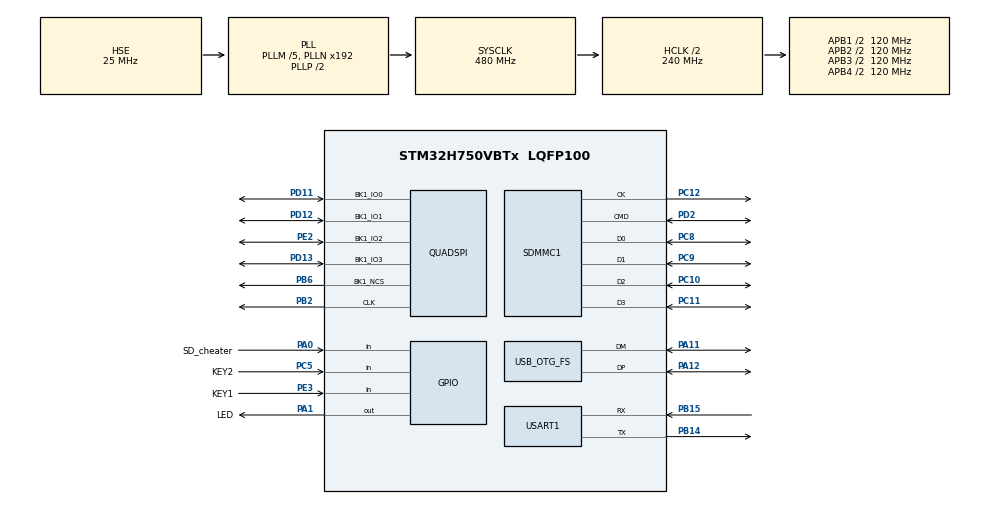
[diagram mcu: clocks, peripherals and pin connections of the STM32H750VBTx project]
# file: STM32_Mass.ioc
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FATFS.BSP.number=1
FATFS.USE_DMA_CODE_SD=1
FATFS._FS_EXFAT=1
FATFS._FS_TIMEOUT=300
FATFS._USE_LFN=3
FATFS0.BSP.STBoard=false
FATFS0.BSP.api=Unknown
FATFS0.BSP.instance=PA0
FATFS0.BSP.ip=GPIO
FATFS0.BSP.mode=Input
FATFS0.BSP.name=Detect_SDIO
FATFS0.BSP.solution=PA0
FREERTOS.Tasks01=defaultTask,0,2048,StartDefaultTask,Default,NULL,Dynamic,NULL,NULL
FREERTOS.configENABLE_FPU=1
FREERTOS.configMINIMAL_STACK_SIZE=256
FREERTOS.configTOTAL_HEAP_SIZE=30720
Mcu.Family=STM32H7
Mcu.Name=STM32H750VBTx
Mcu.Package=LQFP100
Mdma.MDMA_Channel0.Request0=SDMMC1_END_DATA
Mdma.MDMA_Channel0.RequestsNb=1
Mdma.MDMA_Channel0.SDMMC1_END_DATA.0.BlockCount=0
Mdma.MDMA_Channel0.SDMMC1_END_DATA.0.BlockDataLength=0
Mdma.MDMA_Channel0.SDMMC1_END_DATA.0.BufferTransferLength=1
Mdma.MDMA_Channel0.SDMMC1_END_DATA.0.CircularMode=MDMA_LINEAR_LIST
Mdma.MDMA_Channel0.SDMMC1_END_DATA.0.DataAlignment=MDMA_DATAALIGN_PACKENABLE
Mdma.MDMA_Channel0.SDMMC1_END_DATA.0.DestBlockAddressOffset=0
Mdma.MDMA_Channel0.SDMMC1_END_DATA.0.DestBurst=MDMA_DEST_BURST_SINGLE
Mdma.MDMA_Channel0.SDMMC1_END_DATA.0.DestDataSize=MDMA_DEST_DATASIZE_BYTE
Mdma.MDMA_Channel0.SDMMC1_END_DATA.0.DestinationInc=MDMA_DEST_INC_BYTE
Mdma.MDMA_Channel0.SDMMC1_END_DATA.0.DstAddress=0
Mdma.MDMA_Channel0.SDMMC1_END_DATA.0.Endianness=MDMA_LITTLE_ENDIANNESS_PRESERVE
Mdma.MDMA_Channel0.SDMMC1_END_DATA.0.Instance=MDMA_Channel0
Mdma.MDMA_Channel0.SDMMC1_END_DATA.0.MaskAddress=0
Mdma.MDMA_Channel0.SDMMC1_END_DATA.0.MaskData=0
Mdma.MDMA_Channel0.SDMMC1_END_DATA.0.Priority=MDMA_PRIORITY_LOW
Mdma.MDMA_Channel0.SDMMC1_END_DATA.0.Rank=First
Mdma.MDMA_Channel0.SDMMC1_END_DATA.0.SourceBlockAddressOffset=0
Mdma.MDMA_Channel0.SDMMC1_END_DATA.0.SourceBurst=MDMA_SOURCE_BURST_SINGLE
Mdma.MDMA_Channel0.SDMMC1_END_DATA.0.SourceDataSize=MDMA_SRC_DATASIZE_BYTE
Mdma.MDMA_Channel0.SDMMC1_END_DATA.0.SourceInc=MDMA_SRC_INC_BYTE
Mdma.MDMA_Channel0.SDMMC1_END_DATA.0.SrcAddress=0
Mdma.MDMA_Channel0.SDMMC1_END_DATA.0.TransferTriggerMode=MDMA_BUFFER_TRANSFER
Mdma.RequestSet0=MDMA_Channel0
Mdma.RequestSetsNb=1
NVIC.MDMA_IRQn=true\:6\:0\:true\:false\:true\:true\:true\:true\:true
NVIC.OTG_FS_IRQn=true\:7\:0\:true\:false\:true\:true\:false\:true\:true
NVIC.PriorityGroup=NVIC_PRIORITYGROUP_4
NVIC.SDMMC1_IRQn=true\:5\:0\:true\:false\:true\:true\:true\:true\:true
NVIC.TIM1_UP_IRQn=true\:0\:0\:true\:false\:true\:false\:false\:true\:true
NVIC.TimeBase=TIM1_UP_IRQn
NVIC.TimeBaseIP=TIM1
PA0.GPIO_Label=SD_cheater
PA0.GPIO_PuPd=GPIO_PULLDOWN
PA0.Signal=GPIO_Input
PA1.GPIO_Label=LED
PA1.GPIO_PuPd=GPIO_NOPULL
PA1.PinState=GPIO_PIN_SET
PA1.Signal=GPIO_Output
PA11.Mode=Device_Only
PA11.Signal=USB_OTG_FS_DM
PA12.Mode=Device_Only
PA12.Signal=USB_OTG_FS_DP
PA13\ (JTMS/SWDIO).Mode=Serial_Wire
PA13\ (JTMS/SWDIO).Signal=DEBUG_JTMS-SWDIO
PA14\ (JTCK/SWCLK).Mode=Serial_Wire
PA14\ (JTCK/SWCLK).Signal=DEBUG_JTCK-SWCLK
PB14.Mode=Asynchronous
PB14.Signal=USART1_TX
PB15.Mode=Asynchronous
PB15.Signal=USART1_RX
PB2.Mode=Single Bank 1
PB2.Signal=QUADSPI_CLK
PB6.Mode=Single Bank 1
PB6.Signal=QUADSPI_BK1_NCS
PC10.Mode=SD_4_bits_Wide_bus
PC10.Signal=SDMMC1_D2
PC11.Mode=SD_4_bits_Wide_bus
PC11.Signal=SDMMC1_D3
PC12.GPIO_PuPd=GPIO_PULLUP
PC12.Mode=SD_4_bits_Wide_bus
PC12.Signal=SDMMC1_CK
PC5.GPIO_Label=KEY2
PC5.GPIO_PuPd=GPIO_PULLUP
PC5.Signal=GPIO_Input
PC8.GPIO_PuPd=GPIO_PULLUP
PC8.Mode=SD_4_bits_Wide_bus
PC8.Signal=SDMMC1_D0
PC9.Mode=SD_4_bits_Wide_bus
PC9.Signal=SDMMC1_D1
PD11.Mode=Single Bank 1
PD11.Signal=QUADSPI_BK1_IO0
PD12.Mode=Single Bank 1
PD12.Signal=QUADSPI_BK1_IO1
PD13.Mode=Single Bank 1
PD13.Signal=QUADSPI_BK1_IO3
PD2.GPIO_PuPd=GPIO_PULLUP
PD2.Mode=SD_4_bits_Wide_bus
PD2.Signal=SDMMC1_CMD
PE2.Mode=Single Bank 1
PE2.Signal=QUADSPI_BK1_IO2
PE3.GPIO_Label=KEY1
PE3.GPIO_PuPd=GPIO_PULLUP
PE3.Signal=GPIO_Input
PH0-OSC_IN\ (PH0).Mode=HSE-External-Oscillator
PH0-OSC_IN\ (PH0).Signal=RCC_OSC_IN
PH1-OSC_OUT\ (PH1).Mode=HSE-External-Oscillator
PH1-OSC_OUT\ (PH1).Signal=RCC_OSC_OUT
ProjectManager.HeapSize=0x2000
ProjectManager.StackSize=0x2000
ProjectManager.TargetToolchain=STM32CubeIDE
QUADSPI.FlashSize=8
RCC.ADCFreq_Value=100781250
RCC.APB1Freq_Value=120000000
RCC.APB2Freq_Value=120000000
RCC.APB3Freq_Value=120000000
RCC.APB4Freq_Value=120000000
RCC.CortexFreq_Value=480000000
RCC.D1PPRE=RCC_APB3_DIV2
RCC.D2PPRE1=RCC_APB1_DIV2
RCC.D2PPRE2=RCC_APB2_DIV2
RCC.D3PPRE=RCC_APB4_DIV2
RCC.DATA_CACHE_ENABLE=0
RCC.DIVM1=5
RCC.DIVM2=16
RCC.DIVM3=16
RCC.DIVN1=192
RCC.DIVR1=4
RCC.HCLKFreq_Value=240000000
RCC.HPRE=RCC_HCLK_DIV2
RCC.HSE_VALUE=25000000
RCC.INSTRUCTION_CACHE_ENABLE=0
RCC.PLLSourceVirtual=RCC_PLLSOURCE_HSE
RCC.PREFETCH_ENABLE=1
RCC.ProductRev=revV
RCC.SDMMC1CLockSelection=RCC_SDMMCCLKSOURCE_PLL2
RCC.SYSCLKFreq_VALUE=480000000
RCC.SYSCLKSource=RCC_SYSCLKSOURCE_PLLCLK
RCC.USART16CLockSelection=RCC_USART16CLKSOURCE_HSI
RCC.USBCLockSelection=RCC_USBCLKSOURCE_HSI48
RCC.USBFreq_Value=48000000
SDMMC1.ClockDiv=0
SDMMC1.HardwareFlowControl=SDMMC_HARDWARE_FLOW_CONTROL_DISABLE
USART1.VirtualMode-Asynchronous=VM_ASYNC
USB_DEVICE.CLASS_NAME_FS=MSC
USB_DEVICE.MANUFACTURER_STRING-MSC_FS=NinoMassStorage
USB_DEVICE.USBD_DEBUG_LEVEL-MSC_FS=0
USB_DEVICE.VirtualMode-MSC_FS=Msc
USB_DEVICE.VirtualModeFS=Msc_FS
USB_OTG_FS.VirtualMode=Device_Only
VP_CRC_VS_CRC.Mode=CRC_Activate
VP_FATFS_VS_SDIO.Mode=SDIO
VP_FREERTOS_VS_CMSIS_V1.Mode=CMSIS_V1
VP_SYS_VS_tim1.Mode=TIM1
VP_USB_DEVICE_VS_USB_DEVICE_MSC_FS.Mode=MSC_FS
board=custom

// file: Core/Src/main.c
/* USER CODE BEGIN Header */
/**
  ******************************************************************************
  * @file           : main.c
  * @brief          : Main program body
  ******************************************************************************
  * @attention
  *
  * Copyright (c) 2023 STMicroelectronics.
  * All rights reserved.
  *
  * This software is licensed under terms that can be found in the LICENSE file
  * in the root directory of tprintMutex = xSemaphoreCreateMutex();his software component.
  * If no LICENSE file comes with this software, it is provided AS-IS.
  *
  ******************************************************************************
  */
/* USER CODE END Header */
#include "main.h"
#include "cmsis_os.h"
#include "fatfs.h"
#include "usb_device.h"

CRC_HandleTypeDef hcrc;

QSPI_HandleTypeDef hqspi;

SD_HandleTypeDef hsd1;

UART_HandleTypeDef huart1;

MDMA_HandleTypeDef hmdma_mdma_channel40_sdmmc1_end_data_0;
osThreadId defaultTaskHandle;
/* USER CODE BEGIN PV */
osThreadId FATFSTaskHandle;
/* USER CODE END PV */

void SystemClock_Config(void);
static void MX_GPIO_Init(void);
static void MX_MDMA_Init(void);
static void MX_QUADSPI_Init(void);
static void MX_USART1_UART_Init(void);
static void MX_SDMMC1_SD_Init(void);
static void MX_CRC_Init(void);
void StartDefaultTask(void const * argument);

/* USER CODE BEGIN PFP */
void FATFSTask(void const *argument);
/* USER CODE END PFP */

int main(void)
{

  /* MCU Configuration--------------------------------------------------------*/

  /* Reset of all peripherals, Initializes the Flash interface and the Systick. */
  HAL_Init();

  /* Configure the system clock */
  SystemClock_Config();

  /* Initialize all configured peripherals */
  MX_GPIO_Init();
  MX_MDMA_Init();
  MX_QUADSPI_Init();
  MX_FATFS_Init();
  MX_USART1_UART_Init();
  MX_SDMMC1_SD_Init();
  MX_CRC_Init();

  /* Create the thread(s) */
  /* definition and creation of defaultTask */
  osThreadDef(defaultTask, StartDefaultTask, osPriorityNormal, 0, 2048);
  defaultTaskHandle = osThreadCreate(osThread(defaultTask), NULL);

  /* USER CODE BEGIN RTOS_THREADS */
    /* add threads, ... */
    /*FATFS thread in startTask*/
  /* USER CODE END RTOS_THREADS */

  /* Start scheduler */
  osKernelStart();
  /* We should never get here as control is now taken by the scheduler */
  /* Infinite loop */
    while (1) {

    /* USER CODE BEGIN 3 */
//        ViewRootDir("");
    }
  /* USER CODE END 3 */
}

void SystemClock_Config(void)
{
  RCC_OscInitTypeDef RCC_OscInitStruct = {0};
  RCC_ClkInitTypeDef RCC_ClkInitStruct = {0};

  /** Supply configuration update enable
  */
  HAL_PWREx_ConfigSupply(PWR_LDO_SUPPLY);

  /** Configure the main internal regulator output voltage
  */
  __HAL_PWR_VOLTAGESCALING_CONFIG(PWR_REGULATOR_VOLTAGE_SCALE1);

  while(!__HAL_PWR_GET_FLAG(PWR_FLAG_VOSRDY)) {}

  __HAL_RCC_SYSCFG_CLK_ENABLE();
  __HAL_PWR_VOLTAGESCALING_CONFIG(PWR_REGULATOR_VOLTAGE_SCALE0);

  while(!__HAL_PWR_GET_FLAG(PWR_FLAG_VOSRDY)) {}

  /** Initializes the RCC Oscillators according to the specified parameters
  * in the RCC_OscInitTypeDef structure.
  */
  RCC_OscInitStruct.OscillatorType = RCC_OSCILLATORTYPE_HSI48|RCC_OSCILLATORTYPE_HSI
                              |RCC_OSCILLATORTYPE_HSE;
  RCC_OscInitStruct.HSEState = RCC_HSE_ON;
  RCC_OscInitStruct.HSIState = RCC_HSI_DIV1;
  RCC_OscInitStruct.HSICalibrationValue = RCC_HSICALIBRATION_DEFAULT;
  RCC_OscInitStruct.HSI48State = RCC_HSI48_ON;
  RCC_OscInitStruct.PLL.PLLState = RCC_PLL_ON;
  RCC_OscInitStruct.PLL.PLLSource = RCC_PLLSOURCE_HSE;
  RCC_OscInitStruct.PLL.PLLM = 5;
  RCC_OscInitStruct.PLL.PLLN = 192;
  RCC_OscInitStruct.PLL.PLLP = 2;
  RCC_OscInitStruct.PLL.PLLQ = 2;
  RCC_OscInitStruct.PLL.PLLR = 4;
  RCC_OscInitStruct.PLL.PLLRGE = RCC_PLL1VCIRANGE_2;
  RCC_OscInitStruct.PLL.PLLVCOSEL = RCC_PLL1VCOWIDE;
  RCC_OscInitStruct.PLL.PLLFRACN = 0;
  if (HAL_RCC_OscConfig(&RCC_OscInitStruct) != HAL_OK)
  {
    Error_Handler();
  }

  /** Initializes the CPU, AHB and APB buses clocks
  */
  RCC_ClkInitStruct.ClockType = RCC_CLOCKTYPE_HCLK|RCC_CLOCKTYPE_SYSCLK
                              |RCC_CLOCKTYPE_PCLK1|RCC_CLOCKTYPE_PCLK2
                              |RCC_CLOCKTYPE_D3PCLK1|RCC_CLOCKTYPE_D1PCLK1;
  RCC_ClkInitStruct.SYSCLKSource = RCC_SYSCLKSOURCE_PLLCLK;
  RCC_ClkInitStruct.SYSCLKDivider = RCC_SYSCLK_DIV1;
  RCC_ClkInitStruct.AHBCLKDivider = RCC_HCLK_DIV2;
  RCC_ClkInitStruct.APB3CLKDivider = RCC_APB3_DIV2;
  RCC_ClkInitStruct.APB1CLKDivider = RCC_APB1_DIV2;
  RCC_ClkInitStruct.APB2CLKDivider = RCC_APB2_DIV2;
  RCC_ClkInitStruct.APB4CLKDivider = RCC_APB4_DIV2;

  if (HAL_RCC_ClockConfig(&RCC_ClkInitStruct, FLASH_LATENCY_4) != HAL_OK)
  {
    Error_Handler();
  }
}

static void MX_CRC_Init(void)
{

  hcrc.Instance = CRC;
  hcrc.Init.DefaultPolynomialUse = DEFAULT_POLYNOMIAL_ENABLE;
  hcrc.Init.DefaultInitValueUse = DEFAULT_INIT_VALUE_ENABLE;
  hcrc.Init.InputDataInversionMode = CRC_INPUTDATA_INVERSION_NONE;
  hcrc.Init.OutputDataInversionMode = CRC_OUTPUTDATA_INVERSION_DISABLE;
  hcrc.InputDataFormat = CRC_INPUTDATA_FORMAT_BYTES;
  if (HAL_CRC_Init(&hcrc) != HAL_OK)
  {
    Error_Handler();
  }

}

static void MX_QUADSPI_Init(void)
{

  /* QUADSPI parameter configuration*/
  hqspi.Instance = QUADSPI;
  hqspi.Init.ClockPrescaler = 255;
  hqspi.Init.FifoThreshold = 1;
  hqspi.Init.SampleShifting = QSPI_SAMPLE_SHIFTING_NONE;
  hqspi.Init.FlashSize = 8;
  hqspi.Init.ChipSelectHighTime = QSPI_CS_HIGH_TIME_1_CYCLE;
  hqspi.Init.ClockMode = QSPI_CLOCK_MODE_0;
  hqspi.Init.FlashID = QSPI_FLASH_ID_1;
  hqspi.Init.DualFlash = QSPI_DUALFLASH_DISABLE;
  if (HAL_QSPI_Init(&hqspi) != HAL_OK)
  {
    Error_Handler();
  }

}

static void MX_SDMMC1_SD_Init(void)
{

  hsd1.Instance = SDMMC1;
  hsd1.Init.ClockEdge = SDMMC_CLOCK_EDGE_RISING;
  hsd1.Init.ClockPowerSave = SDMMC_CLOCK_POWER_SAVE_DISABLE;
  hsd1.Init.BusWide = SDMMC_BUS_WIDE_4B;
  hsd1.Init.HardwareFlowControl = SDMMC_HARDWARE_FLOW_CONTROL_DISABLE;
  hsd1.Init.ClockDiv = 0;

}

static void MX_USART1_UART_Init(void)
{

  huart1.Instance = USART1;
  huart1.Init.BaudRate = 115200;
  huart1.Init.WordLength = UART_WORDLENGTH_8B;
  huart1.Init.StopBits = UART_STOPBITS_1;
  huart1.Init.Parity = UART_PARITY_NONE;
  huart1.Init.Mode = UART_MODE_TX_RX;
  huart1.Init.HwFlowCtl = UART_HWCONTROL_NONE;
  huart1.Init.OverSampling = UART_OVERSAMPLING_16;
  huart1.Init.OneBitSampling = UART_ONE_BIT_SAMPLE_DISABLE;
  huart1.Init.ClockPrescaler = UART_PRESCALER_DIV1;
  huart1.AdvancedInit.AdvFeatureInit = UART_ADVFEATURE_NO_INIT;
  if (HAL_UART_Init(&huart1) != HAL_OK)
  {
    Error_Handler();
  }
  if (HAL_UARTEx_SetTxFifoThreshold(&huart1, UART_TXFIFO_THRESHOLD_1_8) != HAL_OK)
  {
    Error_Handler();
  }
  if (HAL_UARTEx_SetRxFifoThreshold(&huart1, UART_RXFIFO_THRESHOLD_1_8) != HAL_OK)
  {
    Error_Handler();
  }
  if (HAL_UARTEx_DisableFifoMode(&huart1) != HAL_OK)
  {
    Error_Handler();
  }

}

/**
  * Enable MDMA controller clock
  * Configure MDMA for global transfers
  *   hmdma_mdma_channel40_sdmmc1_end_data_0
  */
static void MX_MDMA_Init(void)
{

  /* MDMA controller clock enable */
  __HAL_RCC_MDMA_CLK_ENABLE();
  /* Local variables */

  /* Configure MDMA channel MDMA_Channel0 */
  /* Configure MDMA request hmdma_mdma_channel40_sdmmc1_end_data_0 on MDMA_Channel0 */
  hmdma_mdma_channel40_sdmmc1_end_data_0.Instance = MDMA_Channel0;
  hmdma_mdma_channel40_sdmmc1_end_data_0.Init.Request = MDMA_REQUEST_SDMMC1_END_DATA;
  hmdma_mdma_channel40_sdmmc1_end_data_0.Init.TransferTriggerMode = MDMA_BUFFER_TRANSFER;
  hmdma_mdma_channel40_sdmmc1_end_data_0.Init.Priority = MDMA_PRIORITY_LOW;
  hmdma_mdma_channel40_sdmmc1_end_data_0.Init.Endianness = MDMA_LITTLE_ENDIANNESS_PRESERVE;
  hmdma_mdma_channel40_sdmmc1_end_data_0.Init.SourceInc = MDMA_SRC_INC_BYTE;
  hmdma_mdma_channel40_sdmmc1_end_data_0.Init.DestinationInc = MDMA_DEST_INC_BYTE;
  hmdma_mdma_channel40_sdmmc1_end_data_0.Init.SourceDataSize = MDMA_SRC_DATASIZE_BYTE;
  hmdma_mdma_channel40_sdmmc1_end_data_0.Init.DestDataSize = MDMA_DEST_DATASIZE_BYTE;
  hmdma_mdma_channel40_sdmmc1_end_data_0.Init.DataAlignment = MDMA_DATAALIGN_PACKENABLE;
  hmdma_mdma_channel40_sdmmc1_end_data_0.Init.BufferTransferLength = 1;
  hmdma_mdma_channel40_sdmmc1_end_data_0.Init.SourceBurst = MDMA_SOURCE_BURST_SINGLE;
  hmdma_mdma_channel40_sdmmc1_end_data_0.Init.DestBurst = MDMA_DEST_BURST_SINGLE;
  hmdma_mdma_channel40_sdmmc1_end_data_0.Init.SourceBlockAddressOffset = 0;
  hmdma_mdma_channel40_sdmmc1_end_data_0.Init.DestBlockAddressOffset = 0;
  if (HAL_MDMA_Init(&hmdma_mdma_channel40_sdmmc1_end_data_0) != HAL_OK)
  {
    Error_Handler();
  }

  /* Configure post request address and data masks */
  if (HAL_MDMA_ConfigPostRequestMask(&hmdma_mdma_channel40_sdmmc1_end_data_0, 0, 0) != HAL_OK)
  {
    Error_Handler();
  }

  /* MDMA interrupt initialization */
  /* MDMA_IRQn interrupt configuration */
  HAL_NVIC_SetPriority(MDMA_IRQn, 6, 0);
  HAL_NVIC_EnableIRQ(MDMA_IRQn);

}

static void MX_GPIO_Init(void)
{
  GPIO_InitTypeDef GPIO_InitStruct = {0};

  /* GPIO Ports Clock Enable */
  __HAL_RCC_GPIOE_CLK_ENABLE();
  __HAL_RCC_GPIOH_CLK_ENABLE();
  __HAL_RCC_GPIOA_CLK_ENABLE();
  __HAL_RCC_GPIOC_CLK_ENABLE();
  __HAL_RCC_GPIOB_CLK_ENABLE();
  __HAL_RCC_GPIOD_CLK_ENABLE();

  /*Configure GPIO pin Output Level */
  HAL_GPIO_WritePin(LED_GPIO_Port, LED_Pin, GPIO_PIN_SET);

  /*Configure GPIO pin : KEY1_Pin */
  GPIO_InitStruct.Pin = KEY1_Pin;
  GPIO_InitStruct.Mode = GPIO_MODE_INPUT;
  GPIO_InitStruct.Pull = GPIO_PULLUP;
  HAL_GPIO_Init(KEY1_GPIO_Port, &GPIO_InitStruct);

  /*Configure GPIO pin : SD_cheater_Pin */
  GPIO_InitStruct.Pin = SD_cheater_Pin;
  GPIO_InitStruct.Mode = GPIO_MODE_INPUT;
  GPIO_InitStruct.Pull = GPIO_PULLDOWN;
  HAL_GPIO_Init(SD_cheater_GPIO_Port, &GPIO_InitStruct);

  /*Configure GPIO pin : LED_Pin */
  GPIO_InitStruct.Pin = LED_Pin;
  GPIO_InitStruct.Mode = GPIO_MODE_OUTPUT_PP;
  GPIO_InitStruct.Pull = GPIO_NOPULL;
  GPIO_InitStruct.Speed = GPIO_SPEED_FREQ_LOW;
  HAL_GPIO_Init(LED_GPIO_Port, &GPIO_InitStruct);

  /*Configure GPIO pin : KEY2_Pin */
  GPIO_InitStruct.Pin = KEY2_Pin;
  GPIO_InitStruct.Mode = GPIO_MODE_INPUT;
  GPIO_InitStruct.Pull = GPIO_PULLUP;
  HAL_GPIO_Init(KEY2_GPIO_Port, &GPIO_InitStruct);

}

void StartDefaultTask(void const * argument)
{
  /* init code for USB_DEVICE */
  MX_USB_DEVICE_Init();
  /* USER CODE BEGIN 5 */

    uint64_t CardCap;        //SD卡容�?????????????
    HAL_SD_CardCIDTypeDef SDCard_CID;
    HAL_SD_CardInfoTypeDef SDCardInfo;

    SD_Driver.disk_initialize(0);

    HAL_SD_GetCardCID(&hsd1, &SDCard_CID);    //获取CID
    HAL_SD_GetCardInfo(&hsd1, &SDCardInfo);                    //获取SD卡信�?????????????
    CardCap = (uint64_t) (SDCardInfo.LogBlockNbr) * (uint64_t) (SDCardInfo.LogBlockSize);    //计算SD卡容�?????????????

    uart_printf("Card ManufacturerID: %d \r\n", SDCard_CID.ManufacturerID);                //制�?�商ID
    uart_printf("CardVersion:         %d \r\n", (uint32_t) (SDCardInfo.CardVersion));        //卡版本号
    uart_printf("Class:               %d \r\n", (uint32_t) (SDCardInfo.Class));            //
    uart_printf("Card RCA(RelCardAdd):%d \r\n", SDCardInfo.RelCardAdd);                    //卡相对地�?????????????
    uart_printf("Card BlockNbr:       %d \r\n", SDCardInfo.BlockNbr);                        //块数�?????????????
    uart_printf("Card BlockSize:      %d \r\n", SDCardInfo.BlockSize);                    //块大�?????????????
    uart_printf("LogBlockNbr:         %d \r\n", (uint32_t) (SDCardInfo.LogBlockNbr));        //逻辑块数�?????????????
    uart_printf("LogBlockSize:        %d \r\n", (uint32_t) (SDCardInfo.LogBlockSize));        //逻辑块大�?????????????
    uart_printf("Card Capacity:       %d MB\r\n", (uint32_t) (CardCap >> 20));                //卡容�?????????????

    osThreadDef(FATFS, FATFSTask, osPriorityAboveNormal, 0, 4096);
    FATFSTaskHandle = osThreadCreate(osThread(FATFS), NULL);
    /* Infinite loop */
    for (;;) {
        HAL_GPIO_TogglePin(LED_GPIO_Port, LED_Pin);
        osDelay(1000);
    }
  /* USER CODE END 5 */
}

void HAL_TIM_PeriodElapsedCallback(TIM_HandleTypeDef *htim)
{
  if (htim->Instance == TIM1) {
    HAL_IncTick();
  }
}

void Error_Handler(void)
{
    __disable_irq();
    while (1) {
    }
}

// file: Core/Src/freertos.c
/* USER CODE BEGIN Header */
/**
  ******************************************************************************
  * File Name          : freertos.c
  * Description        : Code for freertos applications
  ******************************************************************************
  * @attention
  *
  * Copyright (c) 2023 STMicroelectronics.
  * All rights reserved.
  *
  * This software is licensed under terms that can be found in the LICENSE file
  * in the root directory of this software component.
  * If no LICENSE file comes with this software, it is provided AS-IS.
  *
  ******************************************************************************
  */
/* USER CODE END Header */

#include "FreeRTOS.h"
#include "task.h"
#include "main.h"

/* USER CODE BEGIN Includes */
#include "fatfs.h"
/* USER CODE END Includes */

/* GetIdleTaskMemory prototype (linked to static allocation support) */
void vApplicationGetIdleTaskMemory( StaticTask_t **ppxIdleTaskTCBBuffer, StackType_t **ppxIdleTaskStackBuffer, uint32_t *pulIdleTaskStackSize );

/* USER CODE BEGIN GET_IDLE_TASK_MEMORY */
static StaticTask_t xIdleTaskTCBBuffer;
static StackType_t xIdleStack[configMINIMAL_STACK_SIZE];

void vApplicationGetIdleTaskMemory( StaticTask_t **ppxIdleTaskTCBBuffer, StackType_t **ppxIdleTaskStackBuffer, uint32_t *pulIdleTaskStackSize )
{
  *ppxIdleTaskTCBBuffer = &xIdleTaskTCBBuffer;
  *ppxIdleTaskStackBuffer = &xIdleStack[0];
  *pulIdleTaskStackSize = configMINIMAL_STACK_SIZE;
  /* place for user code */
}
/* USER CODE END GET_IDLE_TASK_MEMORY */

/* USER CODE BEGIN Application */
void FATFSTask(void* argument){

    //FileFormat("");   //初次使用SD卡一定要初始�?????????????
    f_mount(&fs, "", 0);    //由于在后续各类操作中取消了每次挂�?????????????/解挂 这里必须要有f_mount();
    CreateNewFile("0:/", "Nino.txt", "I Love Rick From C137 :)\n");
    ReadFileData("0:/", "Nino.txt");
    ReadFileData("0:/", "HelloRick.txt");

    CreateDir("", "Nino_Dir");
    CreateDir("0:/Nino_Dir/", "Nino_Dir_1");

    ViewRootDir("");
    ViewRootDir("0:/Nino_Dir");
    for(;;)
    {
        osDelay(1000);
    }
}
/* USER CODE END Application */
